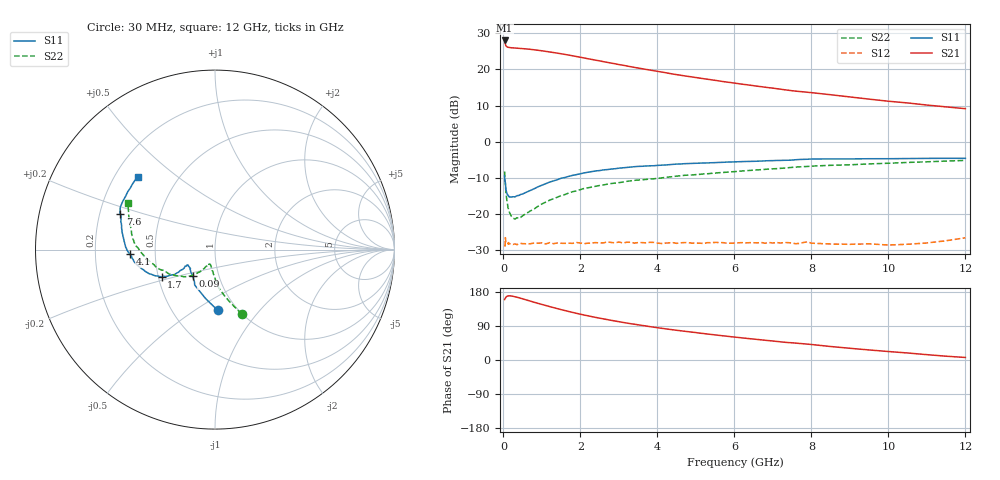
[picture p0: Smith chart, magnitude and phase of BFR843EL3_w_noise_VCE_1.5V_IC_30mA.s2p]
! Infineon Technologies  Discrete & RF Semiconductors
! BFR843EL3
! VCE =  1.5 V,  IC =  30 mA
! Common Emitter S-Parameters:  Aug 2013
# GHz  S  MA  R  50
!  f  S11  S21  S12  S22
! GHz  MAG  ANG  MAG  ANG  MAG  ANG  MAG  ANG
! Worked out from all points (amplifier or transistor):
!   103 points, 30 MHz to 12 GHz, reference 50 ohm
!   highest |S21| = 28.0 dB at 30 MHz (marker M1)
!   |S21| within 3 dB of that: start of sweep to 1.093 GHz
!   unconditionally stable (mu >= 1): 186.3 MHz to 623.2 MHz; 3.359 GHz to end of sweep
!   at 400 MHz: K = 1.00, MAG = 26.6 dB, |S12| = -28.2 dB
!   at 3.7 GHz: K = 1.03, MAG = 22.8 dB, |S12| = -27.9 dB
!   at 12 GHz: K = 1.86, MAG = 12.5 dB, |S12| = -26.5 dB
!   lowest NFmin = 1.34 dB at 900 MHz
!   S11 on the Smith chart (normalised r, x): 30 MHz: 0.82, -0.62; 90 MHz: 0.75, -0.23; 1.7 GHz: 0.52, -0.18; 4.1 GHz: 0.36, -0.02; 7.6 GHz: 0.29, +0.17; 12 GHz: 0.29, +0.37
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0.03  0.3381 -87.5  25.05 159.5  0.0364 26.2  0.3895 -67.5
0.04  0.2825 -99.5  23.19 161.5  0.0362 21.2  0.3034 -74.2
0.06  0.2276 -119.8  21.35 165.2  0.0421 9.1  0.2146 -84.4
0.09  0.1944 -129.9  20.52 167.9  0.0392 9.5  0.1546 -90.6
0.15  0.1727 -142.3  20.03 169.4  0.0394 7.7  0.108 -99.8
0.25  0.1742 -149.1  19.78 168.1  0.0382 3.1  0.0883 -106.7
0.6  0.2018 -148.9  19.13 158.3  0.0391 3.4  0.1028 -116.9
0.9  0.2393 -148.2  18.32 149.4  0.0398 3.5  0.1289 -121.5
1.1  0.2642 -148.3  17.71 143.8  0.0389 2.9  0.1469 -123.6
1.4  0.2999 -150.6  16.75 135.6  0.04 3.8  0.1717 -128.3
1.7  0.3336 -152.9  15.71 127.9  0.0398 3.5  0.1969 -132.4
2.1  0.3719 -157.5  14.34 118.5  0.0392 3.8  0.2273 -138.3
2.6  0.4092 -163.0  12.77 108.4  0.0402 5.1  0.254 -144.7
3.1  0.4368 -167.9  11.41 99.3  0.0401 7.3  0.2774 -150.3
3.5  0.4571 -171.8  10.42 92.8  0.0406 6.2  0.2963 -154.4
4.1  0.4751 -176.8  9.196 83.8  0.0394 8.0  0.3165 -158.7
5.1  0.5071 175.1  7.561 70.9  0.0398 8.2  0.355 -167.1
6.1  0.53 168.1  6.348 59.5  0.0403 10.9  0.3921 -173.9
7.6  0.5653 159.2  4.999 44.5  0.0391 13.5  0.4476 176.0
8.5  0.5803 152.2  4.46 35.6  0.0388 13.4  0.473 169.2
10.5  0.5868 141.8  3.436 18.5  0.0385 26.2  0.5184 158.1
12  0.5908 136.6  2.865 6.7  0.0473 33.8  0.5528 151.7
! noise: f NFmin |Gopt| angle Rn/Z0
0.45  1.35  0.17  172  0.13
0.9  1.34  0.17  168  0.12
1.5  1.34  0.19  166  0.11
1.9  1.34  0.19  168  0.1
2.4  1.34  0.2  171  0.11
3.5  1.35  0.22  176  0.11
5.5  1.36  0.29  190  0.1
8  1.38  0.39  206  0.09
10  1.4  0.49  225  0.1
